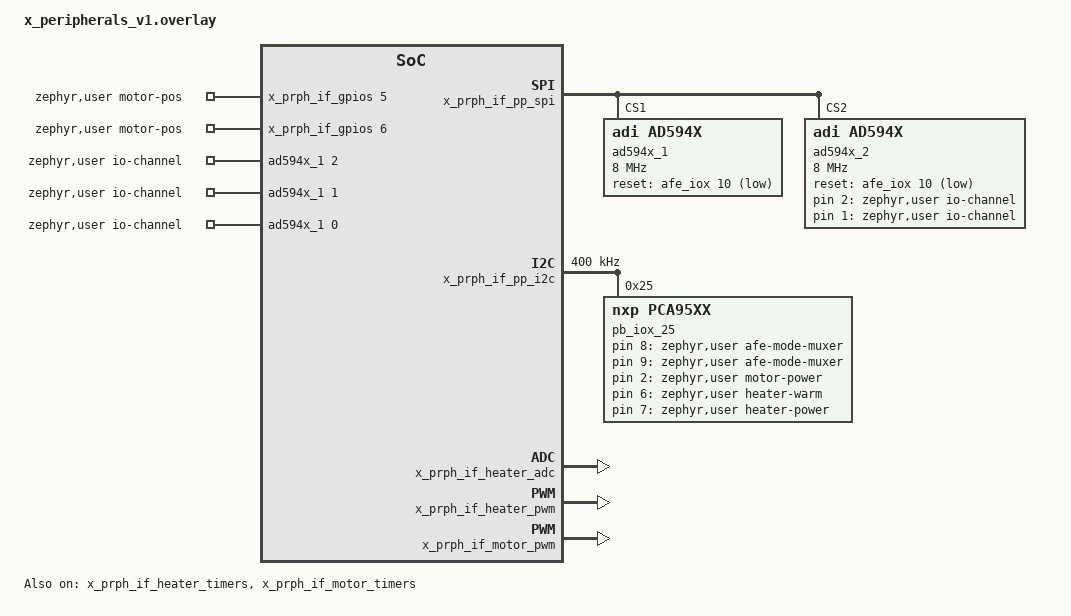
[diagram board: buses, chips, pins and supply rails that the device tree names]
#include <dt-bindings/gpio/gpio_ad594x.h>

/ {
    zephyr,user {
        io-channels =   <0>,     //AFE channel 1 not connected to any ADC.
                        <0>,             //AFE channel 2 not connected to any ADC.
                        <0>,             //AFE channel 3 not connected to any ADC.
                        <&ad594x_1 2>,   //AFE channel 4.
                        <&ad594x_1 1>,   //AFE channel 5.
                        <&ad594x_1 0>,   //AFE channel 6.
                        <&ad594x_2 2>,   //AFE channel 7.
                        <&ad594x_2 1>,   //AFE channel 8.
                        <&ad594x_2 0>,   //AFE channel 9.
                        ;

        afe-detect-adc-channel = <11>;
        afe-mode-muxer-gpios = <&pb_iox_25 8 GPIO_ACTIVE_HIGH>,
                               <&pb_iox_25 9 GPIO_ACTIVE_HIGH>;

		motor-power-gpios = <&pb_iox_25 2 GPIO_ACTIVE_HIGH>;
		motor-pos-gpios = <&x_prph_if_gpios 5 GPIO_ACTIVE_HIGH>,
		                  <&x_prph_if_gpios 6 GPIO_ACTIVE_HIGH>;
		motor-ctl = &ti8846_1;

		heater-thermistor-channel = <6>;
		heater-warm-gpios = <&pb_iox_25 6 GPIO_ACTIVE_HIGH>;
		heater-power-gpios = <&pb_iox_25 7 GPIO_ACTIVE_HIGH>;
		heater-thermistor-adc = &heater_adc;
		heater-pwm = &heater_pwm;
    };
};

afe_spi: &x_prph_if_pp_spi {};

pp_i2c: &x_prph_if_pp_i2c {};

heater_adc: &x_prph_if_heater_adc {};
heater_timers: &x_prph_if_heater_timers {};
heater_pwm: &x_prph_if_heater_pwm {};

motor_timers: &x_prph_if_motor_timers {};
motor_pwm: &x_prph_if_motor_pwm {};


	&pp_i2c {
		status = "okay";
		clock-frequency = <I2C_BITRATE_FAST>;

		pb_iox_25: pca9535@25 {
			compatible = "nxp,pca95xx";
			reg = <0x25>;
			#gpio-cells = <2>;
			gpio-controller;

			status = "okay";
		};
	};

	&afe_spi {
		status = "okay";
		cs-gpios = <&x_gpios_prph_if 16 (GPIO_ACTIVE_LOW | GPIO_PULL_UP)>,    /* AFE_SPI_nCS1 */
							 <&x_gpios_prph_if 17 (GPIO_ACTIVE_LOW | GPIO_PULL_UP)>,    /* AFE_SPI_nCS2 */

		ad594x_1: ad594x_1@1 {
			compatible = "adi,ad594x";
			status = "okay";
			reg = <0x1>;
			spi-max-frequency = <8000000>; // 8 MHz
			#io-channel-cells = <1>;
			reset-gpios = <&afe_iox 10 GPIO_ACTIVE_LOW>;

			ad594x_1_gpio: gpio {
				compatible = "adi,ad594x-gpio";
				status = "okay";
				gpio-controller;
				#gpio-cells = <2>;
			};
		};

		ad594x_2: ad594x_2@2 {
		compatible = "adi,ad594x";
		status = "okay";
		reg = <0x2>;
		spi-max-frequency = <8000000>; // 8 MHz
		#io-channel-cells = <1>;
		reset-gpios = <&afe_iox 10 GPIO_ACTIVE_LOW>;

		ad594x_2_gpio: gpio {
			compatible = "adi,ad594x-gpio";
			status = "okay";
			gpio-controller;
			#gpio-cells = <2>;
		};
	};
};

ti8846_1: ti8846-1{
	compatible = "ti,drv8846";
	status = "okay";
	enbl-gpios = <&pb_iox_25 1 GPIO_ACTIVE_LOW>;
	sleep-gpios = <&pb_iox_25 0 GPIO_ACTIVE_LOW>;
	dir-gpios = <&prph_if 8 GPIO_ACTIVE_HIGH>;  // also pb_iox_252 3
	pwms = <&motor_pwm 4 0 PWM_POLARITY_NORMAL>; // PC9 TIM3_CH4 TIM8_CH4
};

&motor_timers {
	status = "okay";
};

&motor_pwm {
	status = "okay";
};

&heater_adc {
	status = "okay";
};

&heater_timers {
	status = "okay";
};

&heater_pwm {
	status = "okay";
};
